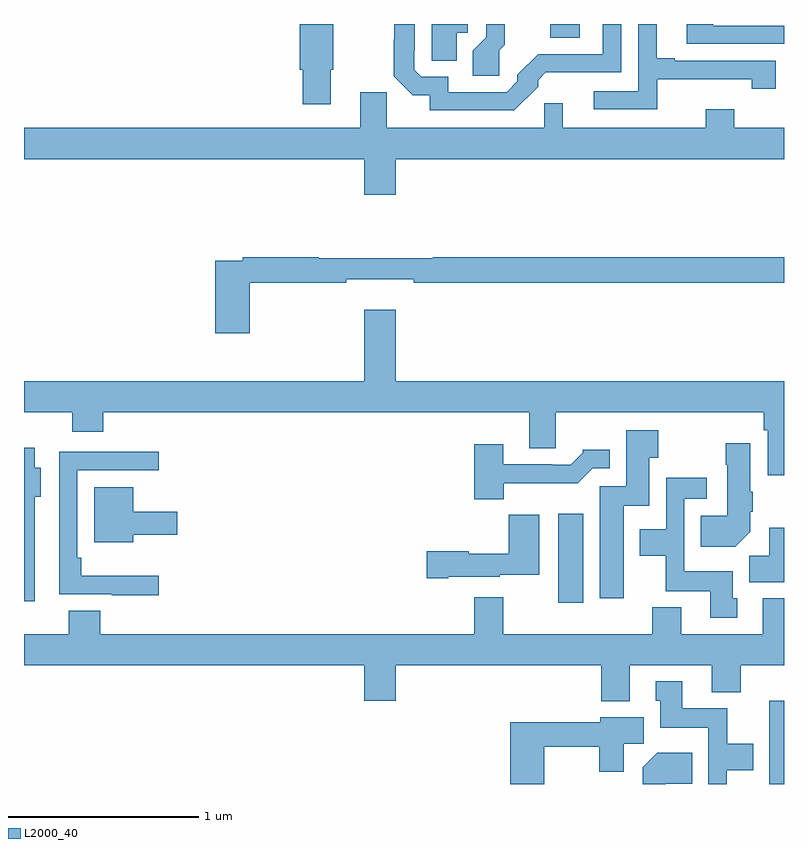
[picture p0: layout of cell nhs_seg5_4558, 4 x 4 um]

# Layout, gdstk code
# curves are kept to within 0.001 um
import gdstk
lib = gdstk.Library(unit=1e-6, precision=1e-09)
def R(c, l, rs):  # rectangles x0, y0, x1, y1
    for r in rs: c.add(gdstk.rectangle(r[:2], r[2:], *l))
def P(c, l, *ps):  # polygons
    for p in ps: c.add(gdstk.Polygon(p, *l))
L2000_40 = (2000, 40)

nhs_seg5_4558 = lib.new_cell('nhs_seg5_4558')
R(nhs_seg5_4558, L2000_40, [(382.922,858.799,383,859.237), (381.812,859.752,381.943,860.221), (381.771,862.726,381.925,862.799)])
P(nhs_seg5_4558, L2000_40, [(381.706,862.469),(381.706,862.504),(381.746,862.544),(382.143,862.545),(382.143,862.799),(382.047,862.799),(382.047,862.641),(381.707,862.641),(381.597,862.531),(381.597,862.497),(381.54,862.44),(381.234,862.44),(381.234,862.521),(381.09,862.521),(381.054,862.557),(381.054,862.657),(381.057,862.657),(381.057,862.799),(380.949,862.799),(380.949,862.715),(380.946,862.715),(380.946,862.524),(381.046,862.425),(381.136,862.425),(381.136,862.344),(381.58,862.344)],
  [(381.501,862.661),(381.53,862.69),(381.53,862.799),(381.432,862.799),(381.432,862.728),(381.362,862.658),(381.362,862.527),(381.501,862.527)],
  [(381.277,862.754),(381.336,862.754),(381.336,862.799),(381.147,862.799),(381.147,862.606),(381.277,862.606)],
  [(383,862.791),(382.627,862.791),(382.627,862.799),(382.487,862.799),(382.487,862.695),(383,862.695)],
  [(380.614,862.557),(380.628,862.557),(380.628,862.799),(380.45,862.799),(380.45,862.557),(380.468,862.557),(380.468,862.377),(380.614,862.377)],
  [(382.334,862.508),(382.829,862.508),(382.829,862.458),(382.957,862.458),(382.957,862.605),(382.426,862.605),(382.426,862.618),(382.33,862.618),(382.33,862.799),(382.233,862.799),(382.233,862.446),(381.999,862.446),(381.999,862.35),(382.334,862.35)],
  [(380.956,862.088),(383,862.088),(383,862.252),(382.737,862.252),(382.737,862.351),(382.589,862.351),(382.589,862.252),(381.835,862.252),(381.835,862.382),(381.739,862.382),(381.739,862.252),(380.909,862.252),(380.909,862.44),(380.771,862.44),(380.771,862.252),(379,862.252),(379,862.088),(380.792,862.088),(380.792,861.9),(380.956,861.9)],
  [(380.189,861.436),(380.696,861.436),(380.696,861.455),(381.052,861.455),(381.052,861.436),(383,861.436),(383,861.572),(381.152,861.572),(381.152,861.565),(380.552,861.565),(380.552,861.572),(380.152,861.572),(380.152,861.552),(380.006,861.552),(380.006,861.171),(380.189,861.171)],
  [(383,860.92),(380.956,860.92),(380.956,861.295),(380.792,861.295),(380.792,860.92),(379,860.92),(379,860.756),(379.253,860.756),(379.253,860.654),(379.418,860.654),(379.418,860.756),(381.659,860.756),(381.659,860.566),(381.799,860.566),(381.799,860.756),(382.894,860.756),(382.894,860.66),(382.914,860.66),(382.914,860.424),(383,860.424)],
  [(382.156,860.264),(382.291,860.264),(382.291,860.515),(382.338,860.515),(382.338,860.662),(382.169,860.662),(382.169,860.367),(382.031,860.367),(382.031,859.776),(382.156,859.776)],
  [(382.822,860.126),(382.822,860.233),(382.835,860.233),(382.835,860.336),(382.822,860.336),(382.822,860.593),(382.693,860.593),(382.693,860.48),(382.7,860.48),(382.7,860.212),(382.561,860.212),(382.561,860.048),(382.744,860.048)],
  [(381.526,860.382),(381.915,860.382),(381.993,860.46),(382.084,860.46),(382.084,860.557),(381.942,860.557),(381.942,860.542),(381.878,860.478),(381.779,860.478),(381.779,860.481),(381.523,860.481),(381.523,860.587),(381.371,860.587),(381.371,860.297),(381.526,860.297)],
  [(379.056,860.312),(379.087,860.312),(379.087,860.464),(379.056,860.464),(379.056,860.57),(379,860.57),(379,859.761),(379.056,859.761)],
  [(379.708,859.894),(379.301,859.894),(379.301,859.99),(379.281,859.99),(379.281,860.451),(379.708,860.451),(379.708,860.547),(379.185,860.547),(379.185,859.797),(379.463,859.797),(379.463,859.793),(379.708,859.793)],
  [(382.753,859.776),(382.729,859.776),(382.729,859.918),(382.476,859.918),(382.476,860.301),(382.594,860.301),(382.594,860.41),(382.38,860.41),(382.38,860.14),(382.241,860.14),(382.241,860),(382.378,860),(382.378,859.814),(382.613,859.814),(382.613,859.674),(382.753,859.674)],
  [(379.576,860.111),(379.807,860.111),(379.807,860.233),(379.576,860.233),(379.576,860.362),(379.37,860.362),(379.37,860.072),(379.576,860.072)],
  [(381.232,859.889),(381.504,859.889),(381.504,859.901),(381.712,859.901),(381.712,860.215),(381.55,860.215),(381.55,860.011),(381.342,860.011),(381.342,860.024),(381.12,860.024),(381.12,859.882),(381.232,859.882)],
  [(383,860.149),(382.922,860.149),(382.922,860),(382.817,860),(382.817,859.862),(383,859.862)],
  [(382.189,859.424),(382.619,859.424),(382.619,859.283),(382.772,859.283),(382.772,859.424),(383,859.424),(383,859.777),(382.889,859.777),(382.889,859.588),(382.459,859.588),(382.459,859.729),(382.307,859.729),(382.307,859.588),(381.523,859.588),(381.523,859.783),(381.371,859.783),(381.371,859.588),(379.4,859.588),(379.4,859.712),(379.235,859.712),(379.235,859.588),(379,859.588),(379,859.424),(380.792,859.424),(380.792,859.236),(380.956,859.236),(380.956,859.424),(382.037,859.424),(382.037,859.235),(382.189,859.235)],
  [(382.698,858.872),(382.837,858.872),(382.837,859.012),(382.701,859.012),(382.701,859.198),(382.465,859.198),(382.465,859.339),(382.325,859.339),(382.325,859.236),(382.349,859.236),(382.349,859.094),(382.602,859.094),(382.602,858.799),(382.698,858.799)],
  [(381.738,858.994),(382.027,858.994),(382.027,858.864),(382.156,858.864),(382.156,859.012),(382.261,859.012),(382.261,859.15),(382.034,859.15),(382.034,859.123),(381.56,859.123),(381.56,858.799),(381.738,858.799)],
  [(382.378,858.8),(382.517,858.8),(382.517,858.964),(382.334,858.964),(382.256,858.886),(382.256,858.799),(382.378,858.799)])

lib.write_gds('nhs_seg5_4558.gds')
